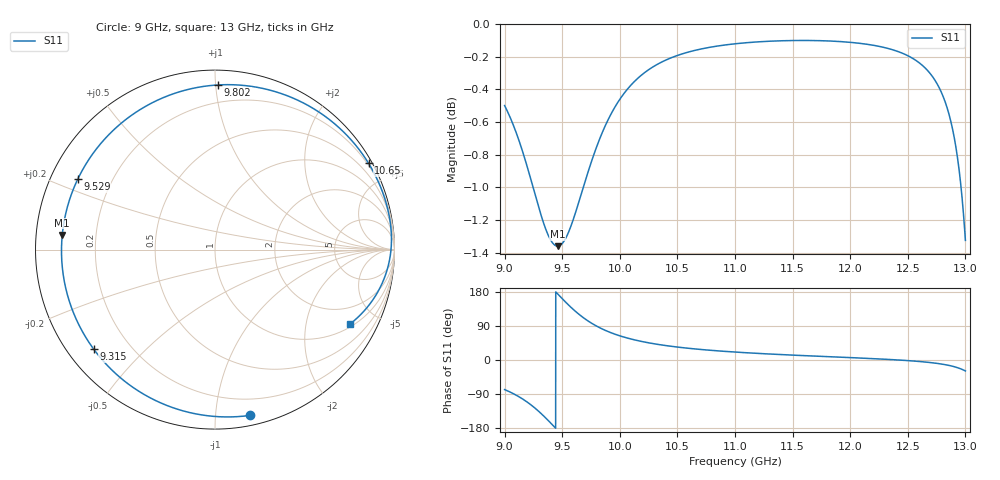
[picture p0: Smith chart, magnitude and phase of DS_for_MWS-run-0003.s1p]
! TOUCHSTONE file generated by CST DESIGN STUDIO
! Date and time: Tue Feb  4 14:11:42 2025
! Project name: C:\Work\MatlabApps\UnitCellOptimizationMatlab\CST\unitcell.cst
! Tree item: Tasks\Sweep1\SPara1\S-Parameters
! Header version: 2024
! Port assignment regex: !\s*Touchstone port\s*([0-9]+)\s*=\s*(CST MWS port|CST DES external port|CST DES block port)\s*(.+)\s* \(\"(.*)\"\)(\s*mode\s*([0-9]+))?.*
! Touchstone port assignment:
! Touchstone port 1 = CST DES external port 1 ("")
# GHz S MA R 50
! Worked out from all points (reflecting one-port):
!   4001 points, 9 GHz to 13 GHz, reference 50 ohm
!   lowest |S11| = -1.4 dB at 9.46 GHz (marker M1), VSWR 12.79, Z = 3.92 + j2.36 ohm
!   phase of S11 starts at -78 deg and turns -311 deg over the sweep
!   S11 on the Smith chart (normalised r, x): 9 GHz: 0.07, -1.23; 9.315 GHz: 0.08, -0.36; 9.529 GHz: 0.08, +0.24; 9.802 GHz: 0.09, +1.02; 10.65 GHz: 0.15, +3.82; 13 GHz: 1.12, -3.54
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9  0.9441 -78.1
9.098  0.9268 -92.4
9.176  0.9093 -106.8
9.247  0.8912 -122.8
9.315  0.8742 -140.7
9.391  0.8598 -163.5
9.46  0.855 174.6
9.5  0.8565 161.9
9.529  0.8596 152.9
9.594  0.8708 134.0
9.657  0.885 117.8
9.725  0.901 102.9
9.802  0.9177 88.9
9.898  0.9346 75.1
10  0.9483 63.8
10.102  0.9583 55.0
10.216  0.9663 47.3
10.347  0.9729 40.4
10.5  0.9781 34.1
10.648  0.9815 29.3
11  0.9861 21.0
11.5  0.9884 12.9
12  0.9872 6.3
12.5  0.9779 -1.6
12.688  0.9663 -6.5
12.831  0.9451 -12.7
12.922  0.9148 -19.3
13  0.8585 -28.9
